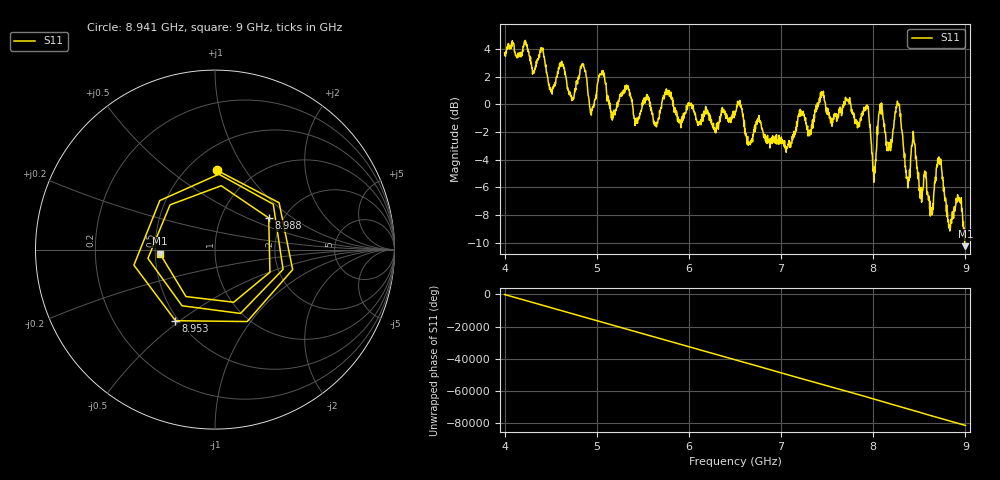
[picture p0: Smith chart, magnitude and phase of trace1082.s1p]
! Created with skrf 1.8.0 (http://scikit-rf.org).
# Hz S RI R 50.0
!freq ReS11 ImS11
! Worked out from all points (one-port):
!   1601 points, 4 GHz to 9 GHz, reference 50 ohm
!   lowest |S11| = -10.2 dB at 9 GHz (marker M1), VSWR 1.89, Z = 26.5 - j1.35 ohm
!   |S11| at or under -10 dB: 8.993221 GHz to end of sweep
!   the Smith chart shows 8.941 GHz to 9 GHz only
!   S11 on the Smith chart (normalised r, x): 8.941 GHz: 0.68, +0.75; 8.953 GHz: 0.48, -0.48; 8.988 GHz: 1.68, +0.68; 9 GHz: 0.53, -0.03
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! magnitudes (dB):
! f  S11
! 4 GHz  3.7
! 4.406 GHz  4.0
! 4.509 GHz  1.0
! 4.625 GHz  2.9
! 4.728 GHz  0.3
! 4.856 GHz  2.9
! 4.944 GHz  -0.4
! 5.056 GHz  2.3
! 5.25 GHz  0.7
! 5.875 GHz  -1.1
! 6.5 GHz  -0.5
! 7.125 GHz  -2.6
! 7.441 GHz  0.6
! 7.75 GHz  0.2
! 7.931 GHz  0.0
! 8.009 GHz  -4.7
! 8.078 GHz  -0.3
! 8.172 GHz  -2.8
! 8.272 GHz  0.0
! 8.375 GHz  -6.0
! 8.438 GHz  -2.3
! 8.625 GHz  -7.8
! 8.712 GHz  -3.8
! 8.825 GHz  -8.7
! 8.941 GHz  -7.1
! 8.953 GHz  -6.9
! 8.988 GHz  -9.2
! 9 GHz  -10.2
